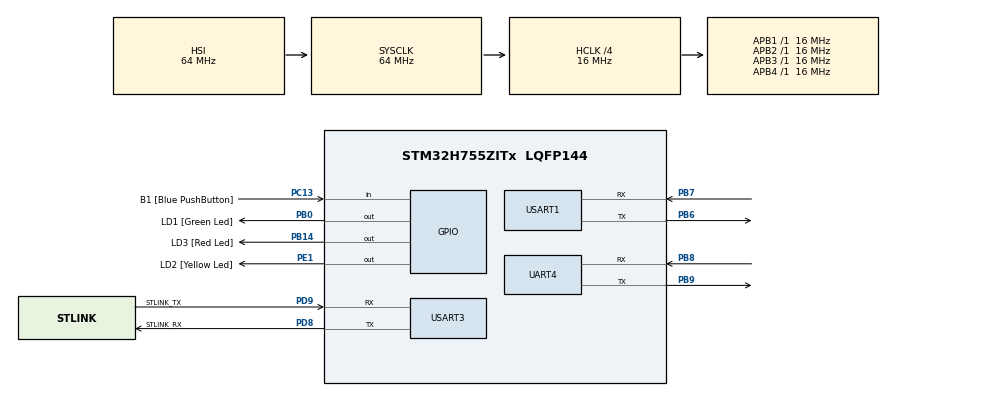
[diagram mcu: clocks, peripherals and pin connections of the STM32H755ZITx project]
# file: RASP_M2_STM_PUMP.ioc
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CortexM4.IPs=FATFS_M4\:I,FREERTOS_M4\:I,IWDG2\:I,RCC,WWDG2\:I,DMA,BDMA,MDMA,NVIC2\:I,USART3,DEBUG,USB_DEVICE_M4\:I,USB_HOST_M4\:I,PDM2PCM_M4\:I,PWR,RESMGR_UTILITY,SYS_M4\:I,CORTEX_M4\:I,OPENAMP_M4\:I,VREFBUF
CortexM7.IPs=FATFS_M7\:I,FREERTOS_M7\:I,IWDG1\:I,RCC\:I,WWDG1\:I,DMA\:I,BDMA\:I,MDMA\:I,NVIC1\:I,USART3\:I,SYS\:I,CORTEX_M7\:I,DEBUG\:I,USB_DEVICE_M7\:I,USB_HOST_M7\:I,PDM2PCM_M7\:I,PWR\:I,RESMGR_UTILITY\:I,OPENAMP_M7\:I,VREFBUF\:I,UART4\:I,USART1\:I
CortexM7.Pins=PC13,PB0,PB14,PE1
Mcu.Family=STM32H7
Mcu.Name=STM32H755ZITx
Mcu.Package=LQFP144
NVIC1.PriorityGroup=NVIC_PRIORITYGROUP_4
NVIC1.UART4_IRQn=true\:1\:0\:true\:false\:true\:true\:true
NVIC1.USART1_IRQn=true\:3\:0\:true\:false\:true\:true\:true
NVIC1.USART3_IRQn=true\:2\:0\:true\:false\:true\:true\:true
NVIC2.PriorityGroup=NVIC_PRIORITYGROUP_4
PB0.GPIO_Label=LD1 [Green Led]
PB0.PinAttribute=CortexM7
PB0.Signal=GPIO_Output
PB14.GPIO_Label=LD3 [Red Led]
PB14.PinAttribute=CortexM7
PB14.Signal=GPIO_Output
PB6.Mode=Asynchronous
PB6.PinAttribute=CortexM7
PB6.Signal=USART1_TX
PB7.Mode=Asynchronous
PB7.PinAttribute=CortexM7
PB7.Signal=USART1_RX
PB8.Mode=Asynchronous
PB8.PinAttribute=CortexM7
PB8.Signal=UART4_RX
PB9.Mode=Asynchronous
PB9.PinAttribute=CortexM7
PB9.Signal=UART4_TX
PC13.GPIO_Label=B1 [Blue PushButton]
PC13.PinAttribute=CortexM7
PC13.Signal=GPIO_Input
PC14-OSC32_IN\ (OSC32_IN).Mode=LSE-External-Oscillator
PC14-OSC32_IN\ (OSC32_IN).PinAttribute=CortexM7
PC14-OSC32_IN\ (OSC32_IN).Signal=RCC_OSC32_IN
PC15-OSC32_OUT\ (OSC32_OUT).Mode=LSE-External-Oscillator
PC15-OSC32_OUT\ (OSC32_OUT).PinAttribute=CortexM7
PC15-OSC32_OUT\ (OSC32_OUT).Signal=RCC_OSC32_OUT
PD8.GPIO_Label=STLINK_RX
PD8.Mode=Asynchronous
PD8.PinAttribute=CortexM7
PD8.Signal=USART3_TX
PD9.GPIO_Label=STLINK_TX
PD9.Mode=Asynchronous
PD9.PinAttribute=CortexM7
PD9.Signal=USART3_RX
PE1.GPIO_Label=LD2 [Yellow Led]
PE1.PinAttribute=CortexM7
PE1.Signal=GPIO_Output
PH0-OSC_IN\ (PH0).Mode=HSE-External-Clock-Source
PH0-OSC_IN\ (PH0).PinAttribute=CortexM7
PH0-OSC_IN\ (PH0).Signal=RCC_OSC_IN
PH1-OSC_OUT\ (PH1).PinAttribute=CortexM7
PH1-OSC_OUT\ (PH1).Signal=RCC_OSC_OUT
ProjectManager.HeapSize=0x200
ProjectManager.StackSize=0x400
ProjectManager.TargetToolchain=STM32CubeIDE
RCC.ADCFreq_Value=16125000
RCC.APB1Freq_Value=16000000
RCC.APB2Freq_Value=16000000
RCC.APB3Freq_Value=16000000
RCC.APB4Freq_Value=16000000
RCC.CortexFreq_Value=16000000
RCC.D1CPRE=RCC_SYSCLK_DIV4
RCC.DIVM1=1
RCC.DIVN1=24
RCC.DIVQ1=4
RCC.HCLKFreq_Value=16000000
RCC.HSE_VALUE=8000000
RCC.PLL2FRACN=0
RCC.PLL3FRACN=0
RCC.PLLFRACN=0
RCC.PLLSourceVirtual=RCC_PLLSOURCE_HSE
RCC.PWR_Regulator_Voltage_Scale=PWR_REGULATOR_VOLTAGE_SCALE2
RCC.SYSCLKFreq_VALUE=64000000
RCC.SupplySource=PWR_DIRECT_SMPS_SUPPLY
RCC.USBFreq_Value=48000000
USART1.VirtualMode-Asynchronous=VM_ASYNC
USART3.VirtualMode-Asynchronous=VM_ASYNC
VP_SYS_M4_VS_Systick.Mode=SysTick
board=NUCLEO-H755ZI-Q

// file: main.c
/* USER CODE BEGIN Header */
/**
  ******************************************************************************
  * @file           : main.c
  * @brief          : Main program body
  ******************************************************************************
  * @attention
  *
  * <h2><center>&copy; Copyright (c) 2024 STMicroelectronics.
  * All rights reserved.</center></h2>
  *
  * This software component is licensed by ST under BSD 3-Clause license,
  * the "License"; You may not use this file except in compliance with the
  * License. You may obtain a copy of the License at:
  *                        opensource.org/licenses/BSD-3-Clause
  *
  ******************************************************************************
  */
/* USER CODE END Header */
#include "main.h"

/* USER CODE BEGIN Includes */
#include "string.h"
#include "stdio.h"
/* USER CODE END Includes */

/* USER CODE BEGIN PD */

#ifndef HSEM_ID_0
#define HSEM_ID_0 (0U) /* HW semaphore 0*/
#endif

#define HTTP_URL "http://87.121.228.83:1888/fhir/Observation/216"
#define HTTP_URL_LEN 46
#define PUMP_BUFF_SIZE 250
#define MODEM_BUFF_SIZE 7000
#define TERMINAL_BUFF_SIZE 300
#define DATA_LEN 119

/* USER CODE END PD */

UART_HandleTypeDef huart4;
UART_HandleTypeDef huart1;
UART_HandleTypeDef huart3;

/* USER CODE BEGIN PV */

uint8_t MODEM_BUFF[MODEM_BUFF_SIZE] = {0};
uint8_t PUMP_BUFF[PUMP_BUFF_SIZE] = {0};
uint8_t TERMINAL_BUFF[TERMINAL_BUFF_SIZE] = {0};
uint16_t ModemLen = 0;
uint16_t PumpLen = 0;
uint16_t TermLen = 0;
uint16_t total_len = 0;
uint8_t startFlag = 0;
uint8_t pumpFlag = 0;
uint8_t putCommandFlag = 0;
uint8_t flag = 0;

typedef enum {
    STATE_INIT = 0,
    STATE_CONF_CONTTYPE,
    STATE_NETWORK_INFO,
    STATE_URL_INFO,
    STATE_SEND_URL,
    STATE_GET_HTTP,
    STATE_PROCESS_DATA,
	STATE_PUT,
	STATE_READ,
	STATE_REPEAT
} ModemState;

ModemState state = STATE_INIT;

/* USER CODE END PV */

void SystemClock_Config(void);
static void MX_GPIO_Init(void);
static void MX_UART4_Init(void);
static void MX_USART1_UART_Init(void);
static void MX_USART3_UART_Init(void);

/* USER CODE BEGIN 0 */

	void send_AT_command(UART_HandleTypeDef *huart, const char *command) {
		  HAL_UART_Transmit(huart, (uint8_t*)command, strlen(command), HAL_MAX_DELAY);
		  HAL_Delay(3000);
	}

	void processFlag(void) {
		switch(state) {
			case STATE_INIT:
				send_AT_command(&huart4, "AT\r\n");
				break;
			case STATE_CONF_CONTTYPE:
				send_AT_command(&huart4, "AT+QHTTPCFG=\"contenttype\",4\r\n");
				break;
			case STATE_NETWORK_INFO:
				send_AT_command(&huart4, "AT+QENG=\"servingcell\"\r\n");
				break;
			case STATE_URL_INFO: {
				char http_url_command[64];
				sprintf(http_url_command, "AT+QHTTPURL=%d,5\r\n", HTTP_URL_LEN);
				send_AT_command(&huart4, http_url_command);
				break;
			}
			case STATE_SEND_URL:
				send_AT_command(&huart4, HTTP_URL);
				break;
			case STATE_GET_HTTP:
				send_AT_command(&huart4, "AT+QHTTPGET=5\r\n");
				break;
			case STATE_PROCESS_DATA:
				HAL_UARTEx_ReceiveToIdle_IT(&huart1, PUMP_BUFF, PUMP_BUFF_SIZE);
				break;
			case STATE_READ:
				send_AT_command(&huart4, "AT+QHTTPREAD=120\r\n");
				break;
			default: //if there is no case match, optional
				break;
		}
	}

	void processPumpData(void) {
		uint8_t DataPut[(PumpLen*2)];
		int index1 = 0;
		int index2 = 0;

		  for (index1 = 0; index1 < PumpLen; index1++){

			  DataPut[index2] = ((PUMP_BUFF[index1] >> 4) & 0x0F);
			  if ((DataPut[index2] >= 0x00) && (DataPut[index2] <= 0x09)) {
				  DataPut[index2] = DataPut[index2] + 0x30;
			  }
			  else if ((DataPut[index2] >= 0x0A) && (DataPut[index2] <= 0x0F)) {
				  DataPut[index2] = DataPut[index2] + 0x37;
			  }
				  DataPut[(index2+1)] = (PUMP_BUFF[index1] & 0x0F);

			  if ((DataPut[(index2+1)] >= 0x00) && (DataPut[(index2+1)] <= 0x09)) {
				  DataPut[(index2+1)] = DataPut[(index2+1)] + 0x30;
			  }
			  else if ((DataPut[(index2+1)] >= 0x0A) && (DataPut[(index2+1)] <= 0x0F)) {
				  DataPut[(index2+1)] = DataPut[(index2+1)] + 0x37;
			  }
			  index2 = index2 + 2;
			  }
			HAL_UART_Transmit(&huart4, (uint8_t*)"{\"resourceType\":\"Observation\",\"id\":\"216\",\"subject\":{\"reference\":\"Patient/2\"},\"component\":[{\"valueSampledData\":{\"data\":\"", DATA_LEN, HAL_MAX_DELAY);
			HAL_Delay(100);
			HAL_UART_Transmit(&huart4, DataPut, (PumpLen * 2), HAL_MAX_DELAY);
			HAL_Delay(100);
			HAL_UART_Transmit(&huart4, (uint8_t*)"\"}}]}", 5, HAL_MAX_DELAY);
			HAL_Delay(100);
	}

	void HAL_UARTEx_RxEventCallback(UART_HandleTypeDef *huart, uint16_t Size) {
		if (huart->Instance == UART4) {
			HAL_GPIO_WritePin(LD2_GPIO_Port, LD2_Pin, GPIO_PIN_SET);
			ModemLen = Size;

			if (strstr((char *)MODEM_BUFF, "OK\r\n") && state == STATE_INIT) {
				state = STATE_CONF_CONTTYPE;
			}
			else if (strstr((char *)MODEM_BUFF, "+CME ERROR")) {
				startFlag = 0;
				//HAL_NVIC_SystemReset();
			}
			else if (strstr((char *)MODEM_BUFF, "OK\r\n") && state == STATE_CONF_CONTTYPE) {
				state = STATE_NETWORK_INFO;
			}
			else if (strstr((char *)MODEM_BUFF, "NOCONN") && state == STATE_NETWORK_INFO) {
				state = STATE_URL_INFO;
			}
			else if (strstr((char *)MODEM_BUFF,"CONNECT") && state == STATE_URL_INFO) {
				state = STATE_SEND_URL;
			}
			else if (strstr((char *)MODEM_BUFF, "OK\r\n") && state == STATE_SEND_URL) {
				state = STATE_GET_HTTP;
			}
			else if (strstr((char *)MODEM_BUFF, "QHTTPGET: 0,200")) {
				state = STATE_PROCESS_DATA;
			}
			else if ((strstr((char *)MODEM_BUFF, "CONNECT") != NULL) && state == STATE_REPEAT){
				state = STATE_PROCESS_DATA;
			}
			else if ((strstr((char *)MODEM_BUFF, "QHTTPPUT: 0,200") != NULL)){
				HAL_Delay(500);
				state = STATE_PROCESS_DATA;
			}
			else if ((strstr((char *)MODEM_BUFF, "QHTTPPUT: 702")!= NULL)){
				state = STATE_GET_HTTP;
			}
			else if ((strstr((char *)MODEM_BUFF, "QHTTPPUT: 0,400")!= NULL)){
				state = STATE_READ;
			}

			HAL_UARTEx_ReceiveToIdle_IT(&huart4, MODEM_BUFF, MODEM_BUFF_SIZE);
			HAL_UART_Transmit(&huart3, MODEM_BUFF, ModemLen, HAL_MAX_DELAY);
			memset(MODEM_BUFF,0,ModemLen);
			HAL_GPIO_WritePin(LD2_GPIO_Port, LD2_Pin, GPIO_PIN_RESET);
		}

		else if (huart->Instance == USART3) {
			TermLen = Size;
			HAL_UART_Transmit(&huart4, TERMINAL_BUFF, TermLen, HAL_MAX_DELAY);
			HAL_UARTEx_ReceiveToIdle_IT(&huart3, TERMINAL_BUFF, TERMINAL_BUFF_SIZE);
		}

		else if (huart->Instance == USART1) {
			PumpLen = Size;
			total_len = DATA_LEN + (PumpLen * 2) + 5;

			if (pumpFlag == 0) {
				char put_command[64];
				sprintf(put_command, "AT+QHTTPPUT=%d,20,20\r\n", total_len);
				HAL_UART_Transmit(&huart4, (uint8_t *)put_command, strlen(put_command), HAL_MAX_DELAY);
				state = STATE_REPEAT;
				HAL_Delay(2800);
				pumpFlag = 1;
				}

			else if (pumpFlag == 1){
				processPumpData();
				pumpFlag = 0;
			}
	}
	}
/* USER CODE END 0 */

int main(void)
{
/* USER CODE BEGIN Boot_Mode_Sequence_0 */
  int32_t timeout;
/* USER CODE END Boot_Mode_Sequence_0 */

/* USER CODE BEGIN Boot_Mode_Sequence_1 */
  /* Wait until CPU2 boots and enters in stop mode or timeout*/
  timeout = 0xFFFF;
  while((__HAL_RCC_GET_FLAG(RCC_FLAG_D2CKRDY) != RESET) && (timeout-- > 0));
  if ( timeout < 0 )
  {
  Error_Handler();
  }
/* USER CODE END Boot_Mode_Sequence_1 */
  /* MCU Configuration--------------------------------------------------------*/

  /* Reset of all peripherals, Initializes the Flash interface and the Systick. */
  HAL_Init();

  /* Configure the system clock */
  SystemClock_Config();
/* USER CODE BEGIN Boot_Mode_Sequence_2 */
/* When system initialization is finished, Cortex-M7 will release Cortex-M4 by means of
HSEM notification */
/*HW semaphore Clock enable*/
__HAL_RCC_HSEM_CLK_ENABLE();
/*Take HSEM */
HAL_HSEM_FastTake(HSEM_ID_0);
/*Release HSEM in order to notify the CPU2(CM4)*/
HAL_HSEM_Release(HSEM_ID_0,0);
/* wait until CPU2 wakes up from stop mode */
timeout = 0xFFFF;
while((__HAL_RCC_GET_FLAG(RCC_FLAG_D2CKRDY) == RESET) && (timeout-- > 0));
if ( timeout < 0 )
{
Error_Handler();
}
/* USER CODE END Boot_Mode_Sequence_2 */

  /* Initialize all configured peripherals */
  MX_GPIO_Init();
  MX_UART4_Init();
  MX_USART1_UART_Init();
  MX_USART3_UART_Init();
  /* USER CODE BEGIN 2 */

  HAL_UARTEx_ReceiveToIdle_IT(&huart4, MODEM_BUFF, 7000);
  HAL_UARTEx_ReceiveToIdle_IT(&huart3, TERMINAL_BUFF, 300);

  /* USER CODE END 2 */

  /* Infinite loop */
  while (1)
  {

    /* USER CODE BEGIN 3 */
	  if (HAL_GPIO_ReadPin(GPIOC, GPIO_PIN_13)) {
		  startFlag = 1;
	  }
	  if (startFlag == 1) {
	      processFlag();
	  }

  }
  /* USER CODE END 3 */
}

void SystemClock_Config(void)
{
  RCC_OscInitTypeDef RCC_OscInitStruct = {0};
  RCC_ClkInitTypeDef RCC_ClkInitStruct = {0};

  /** Supply configuration update enable
  */
  HAL_PWREx_ConfigSupply(PWR_DIRECT_SMPS_SUPPLY);
  /** Configure the main internal regulator output voltage
  */
  __HAL_PWR_VOLTAGESCALING_CONFIG(PWR_REGULATOR_VOLTAGE_SCALE2);

  while(!__HAL_PWR_GET_FLAG(PWR_FLAG_VOSRDY)) {}
  /** Initializes the RCC Oscillators according to the specified parameters
  * in the RCC_OscInitTypeDef structure.
  */
  RCC_OscInitStruct.OscillatorType = RCC_OSCILLATORTYPE_HSI;
  RCC_OscInitStruct.HSIState = RCC_HSI_DIV1;
  RCC_OscInitStruct.HSICalibrationValue = RCC_HSICALIBRATION_DEFAULT;
  RCC_OscInitStruct.PLL.PLLState = RCC_PLL_NONE;
  if (HAL_RCC_OscConfig(&RCC_OscInitStruct) != HAL_OK)
  {
    Error_Handler();
  }
  /** Initializes the CPU, AHB and APB buses clocks
  */
  RCC_ClkInitStruct.ClockType = RCC_CLOCKTYPE_HCLK|RCC_CLOCKTYPE_SYSCLK
                              |RCC_CLOCKTYPE_PCLK1|RCC_CLOCKTYPE_PCLK2
                              |RCC_CLOCKTYPE_D3PCLK1|RCC_CLOCKTYPE_D1PCLK1;
  RCC_ClkInitStruct.SYSCLKSource = RCC_SYSCLKSOURCE_HSI;
  RCC_ClkInitStruct.SYSCLKDivider = RCC_SYSCLK_DIV4;
  RCC_ClkInitStruct.AHBCLKDivider = RCC_HCLK_DIV1;
  RCC_ClkInitStruct.APB3CLKDivider = RCC_APB3_DIV1;
  RCC_ClkInitStruct.APB1CLKDivider = RCC_APB1_DIV1;
  RCC_ClkInitStruct.APB2CLKDivider = RCC_APB2_DIV1;
  RCC_ClkInitStruct.APB4CLKDivider = RCC_APB4_DIV1;

  if (HAL_RCC_ClockConfig(&RCC_ClkInitStruct, FLASH_LATENCY_0) != HAL_OK)
  {
    Error_Handler();
  }
}

static void MX_UART4_Init(void)
{

  huart4.Instance = UART4;
  huart4.Init.BaudRate = 115200;
  huart4.Init.WordLength = UART_WORDLENGTH_8B;
  huart4.Init.StopBits = UART_STOPBITS_1;
  huart4.Init.Parity = UART_PARITY_NONE;
  huart4.Init.Mode = UART_MODE_TX_RX;
  huart4.Init.HwFlowCtl = UART_HWCONTROL_NONE;
  huart4.Init.OverSampling = UART_OVERSAMPLING_16;
  huart4.Init.OneBitSampling = UART_ONE_BIT_SAMPLE_DISABLE;
  huart4.Init.ClockPrescaler = UART_PRESCALER_DIV1;
  huart4.AdvancedInit.AdvFeatureInit = UART_ADVFEATURE_NO_INIT;
  if (HAL_UART_Init(&huart4) != HAL_OK)
  {
    Error_Handler();
  }
  if (HAL_UARTEx_SetTxFifoThreshold(&huart4, UART_TXFIFO_THRESHOLD_1_8) != HAL_OK)
  {
    Error_Handler();
  }
  if (HAL_UARTEx_SetRxFifoThreshold(&huart4, UART_RXFIFO_THRESHOLD_1_8) != HAL_OK)
  {
    Error_Handler();
  }
  if (HAL_UARTEx_DisableFifoMode(&huart4) != HAL_OK)
  {
    Error_Handler();
  }

}

static void MX_USART1_UART_Init(void)
{

  huart1.Instance = USART1;
  huart1.Init.BaudRate = 115200;
  huart1.Init.WordLength = UART_WORDLENGTH_8B;
  huart1.Init.StopBits = UART_STOPBITS_1;
  huart1.Init.Parity = UART_PARITY_NONE;
  huart1.Init.Mode = UART_MODE_TX_RX;
  huart1.Init.HwFlowCtl = UART_HWCONTROL_NONE;
  huart1.Init.OverSampling = UART_OVERSAMPLING_16;
  huart1.Init.OneBitSampling = UART_ONE_BIT_SAMPLE_DISABLE;
  huart1.Init.ClockPrescaler = UART_PRESCALER_DIV1;
  huart1.AdvancedInit.AdvFeatureInit = UART_ADVFEATURE_NO_INIT;
  if (HAL_UART_Init(&huart1) != HAL_OK)
  {
    Error_Handler();
  }
  if (HAL_UARTEx_SetTxFifoThreshold(&huart1, UART_TXFIFO_THRESHOLD_1_8) != HAL_OK)
  {
    Error_Handler();
  }
  if (HAL_UARTEx_SetRxFifoThreshold(&huart1, UART_RXFIFO_THRESHOLD_1_8) != HAL_OK)
  {
    Error_Handler();
  }
  if (HAL_UARTEx_DisableFifoMode(&huart1) != HAL_OK)
  {
    Error_Handler();
  }

}

static void MX_USART3_UART_Init(void)
{

  huart3.Instance = USART3;
  huart3.Init.BaudRate = 115200;
  huart3.Init.WordLength = UART_WORDLENGTH_8B;
  huart3.Init.StopBits = UART_STOPBITS_1;
  huart3.Init.Parity = UART_PARITY_NONE;
  huart3.Init.Mode = UART_MODE_TX_RX;
  huart3.Init.HwFlowCtl = UART_HWCONTROL_NONE;
  huart3.Init.OverSampling = UART_OVERSAMPLING_16;
  huart3.Init.OneBitSampling = UART_ONE_BIT_SAMPLE_DISABLE;
  huart3.Init.ClockPrescaler = UART_PRESCALER_DIV1;
  huart3.AdvancedInit.AdvFeatureInit = UART_ADVFEATURE_NO_INIT;
  if (HAL_UART_Init(&huart3) != HAL_OK)
  {
    Error_Handler();
  }
  if (HAL_UARTEx_SetTxFifoThreshold(&huart3, UART_TXFIFO_THRESHOLD_1_8) != HAL_OK)
  {
    Error_Handler();
  }
  if (HAL_UARTEx_SetRxFifoThreshold(&huart3, UART_RXFIFO_THRESHOLD_1_8) != HAL_OK)
  {
    Error_Handler();
  }
  if (HAL_UARTEx_DisableFifoMode(&huart3) != HAL_OK)
  {
    Error_Handler();
  }

}

static void MX_GPIO_Init(void)
{
  GPIO_InitTypeDef GPIO_InitStruct = {0};

  /* GPIO Ports Clock Enable */
  __HAL_RCC_GPIOC_CLK_ENABLE();
  __HAL_RCC_GPIOH_CLK_ENABLE();
  __HAL_RCC_GPIOB_CLK_ENABLE();
  __HAL_RCC_GPIOD_CLK_ENABLE();
  __HAL_RCC_GPIOE_CLK_ENABLE();

  /*Configure GPIO pin Output Level */
  HAL_GPIO_WritePin(GPIOB, LD1_Pin|LD3_Pin, GPIO_PIN_RESET);

  /*Configure GPIO pin Output Level */
  HAL_GPIO_WritePin(LD2_GPIO_Port, LD2_Pin, GPIO_PIN_RESET);

  /*Configure GPIO pin : B1_Pin */
  GPIO_InitStruct.Pin = B1_Pin;
  GPIO_InitStruct.Mode = GPIO_MODE_INPUT;
  GPIO_InitStruct.Pull = GPIO_NOPULL;
  HAL_GPIO_Init(B1_GPIO_Port, &GPIO_InitStruct);

  /*Configure GPIO pins : LD1_Pin LD3_Pin */
  GPIO_InitStruct.Pin = LD1_Pin|LD3_Pin;
  GPIO_InitStruct.Mode = GPIO_MODE_OUTPUT_PP;
  GPIO_InitStruct.Pull = GPIO_NOPULL;
  GPIO_InitStruct.Speed = GPIO_SPEED_FREQ_LOW;
  HAL_GPIO_Init(GPIOB, &GPIO_InitStruct);

  /*Configure GPIO pin : LD2_Pin */
  GPIO_InitStruct.Pin = LD2_Pin;
  GPIO_InitStruct.Mode = GPIO_MODE_OUTPUT_PP;
  GPIO_InitStruct.Pull = GPIO_NOPULL;
  GPIO_InitStruct.Speed = GPIO_SPEED_FREQ_LOW;
  HAL_GPIO_Init(LD2_GPIO_Port, &GPIO_InitStruct);

}

void Error_Handler(void)
{
  __disable_irq();
  while (1)
  {
  }
}

/************************ (C) COPYRIGHT STMicroelectronics *****END OF FILE****/
